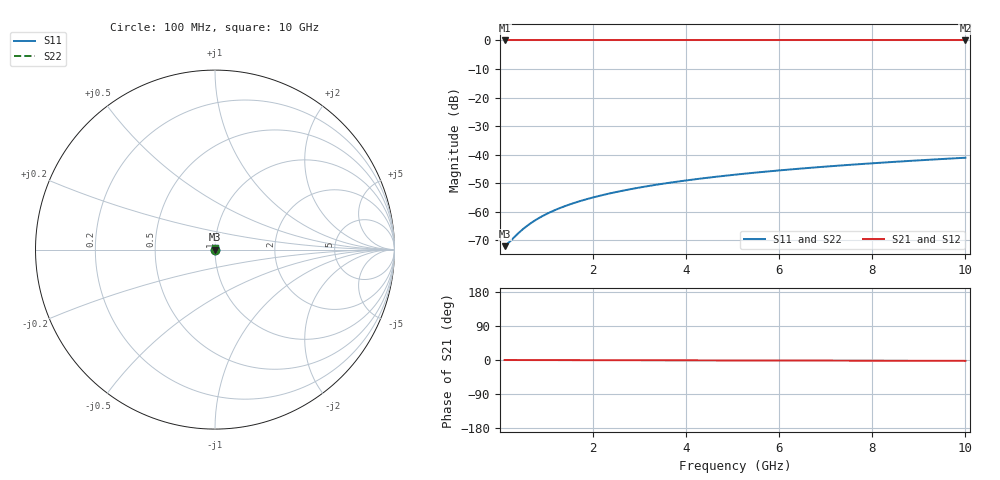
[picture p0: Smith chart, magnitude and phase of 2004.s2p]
# Hz S RI R 50.00
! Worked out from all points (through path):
!   100 points, 100 MHz to 10 GHz, reference 50 ohm
!   highest |S21| = 0.00 dB at 100 MHz (marker M1); lowest = 0.0 dB at 10 GHz (marker M2)
!   lowest |S11| = -72.1 dB at 100 MHz (marker M3), VSWR 1.00, Z = 50 + j0.00881 ohm
!   |S11| at or under -10 dB: start of sweep to end of sweep
!   |S22| runs from -72.1 to -41.1 dB; largest |S21 - S12| = 0
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1e8  0.000233 8.81e-05  0.9998 -0.000392  0.9998 -0.000392  0.000233 8.81e-05
2e8  0.000235 0.000176  0.9998 -0.000783  0.9998 -0.000783  0.000235 0.000176
4e8  0.000237 0.000352  0.9998 -0.00157  0.9998 -0.00157  0.000237 0.000352
5e8  0.000238 0.00044  0.9998 -0.00196  0.9998 -0.00196  0.000238 0.00044
6e8  0.000239 0.000528  0.9998 -0.00235  0.9998 -0.00235  0.000239 0.000528
7e8  0.00024 0.000616  0.9998 -0.00274  0.9998 -0.00274  0.00024 0.000616
8e8  0.000241 0.000704  0.9998 -0.00313  0.9998 -0.00313  0.000241 0.000704
1e9  0.000243 0.00088  0.9997 -0.00392  0.9997 -0.00392  0.000243 0.00088
1.2e9  0.000245 0.00106  0.9997 -0.0047  0.9997 -0.0047  0.000245 0.00106
1.5e9  0.000249 0.00132  0.9997 -0.00588  0.9997 -0.00588  0.000249 0.00132
1.8e9  0.000253 0.00158  0.9997 -0.00705  0.9997 -0.00705  0.000253 0.00158
2.1e9  0.000258 0.00185  0.9997 -0.00823  0.9997 -0.00823  0.000258 0.00185
2.5e9  0.000265 0.0022  0.9997 -0.0098  0.9997 -0.0098  0.000265 0.0022
2.9e9  0.000273 0.00255  0.9997 -0.0114  0.9997 -0.0114  0.000273 0.00255
3.4e9  0.000285 0.00299  0.9997 -0.0133  0.9997 -0.0133  0.000285 0.00299
4.2e9  0.000307 0.0037  0.9996 -0.0165  0.9996 -0.0165  0.000307 0.0037
5.1e9  0.000337 0.00449  0.9995 -0.02  0.9995 -0.02  0.000337 0.00449
5.9e9  0.000368 0.00519  0.9995 -0.0231  0.9995 -0.0231  0.000368 0.00519
6.7e9  0.000404 0.0059  0.9994 -0.0263  0.9994 -0.0263  0.000404 0.0059
7.5e9  0.000445 0.0066  0.9993 -0.0294  0.9993 -0.0294  0.000445 0.0066
8.4e9  0.000496 0.0074  0.9992 -0.033  0.9992 -0.033  0.000496 0.0074
1e10  0.0006 0.00881  0.9989 -0.0393  0.9989 -0.0393  0.0006 0.00881
